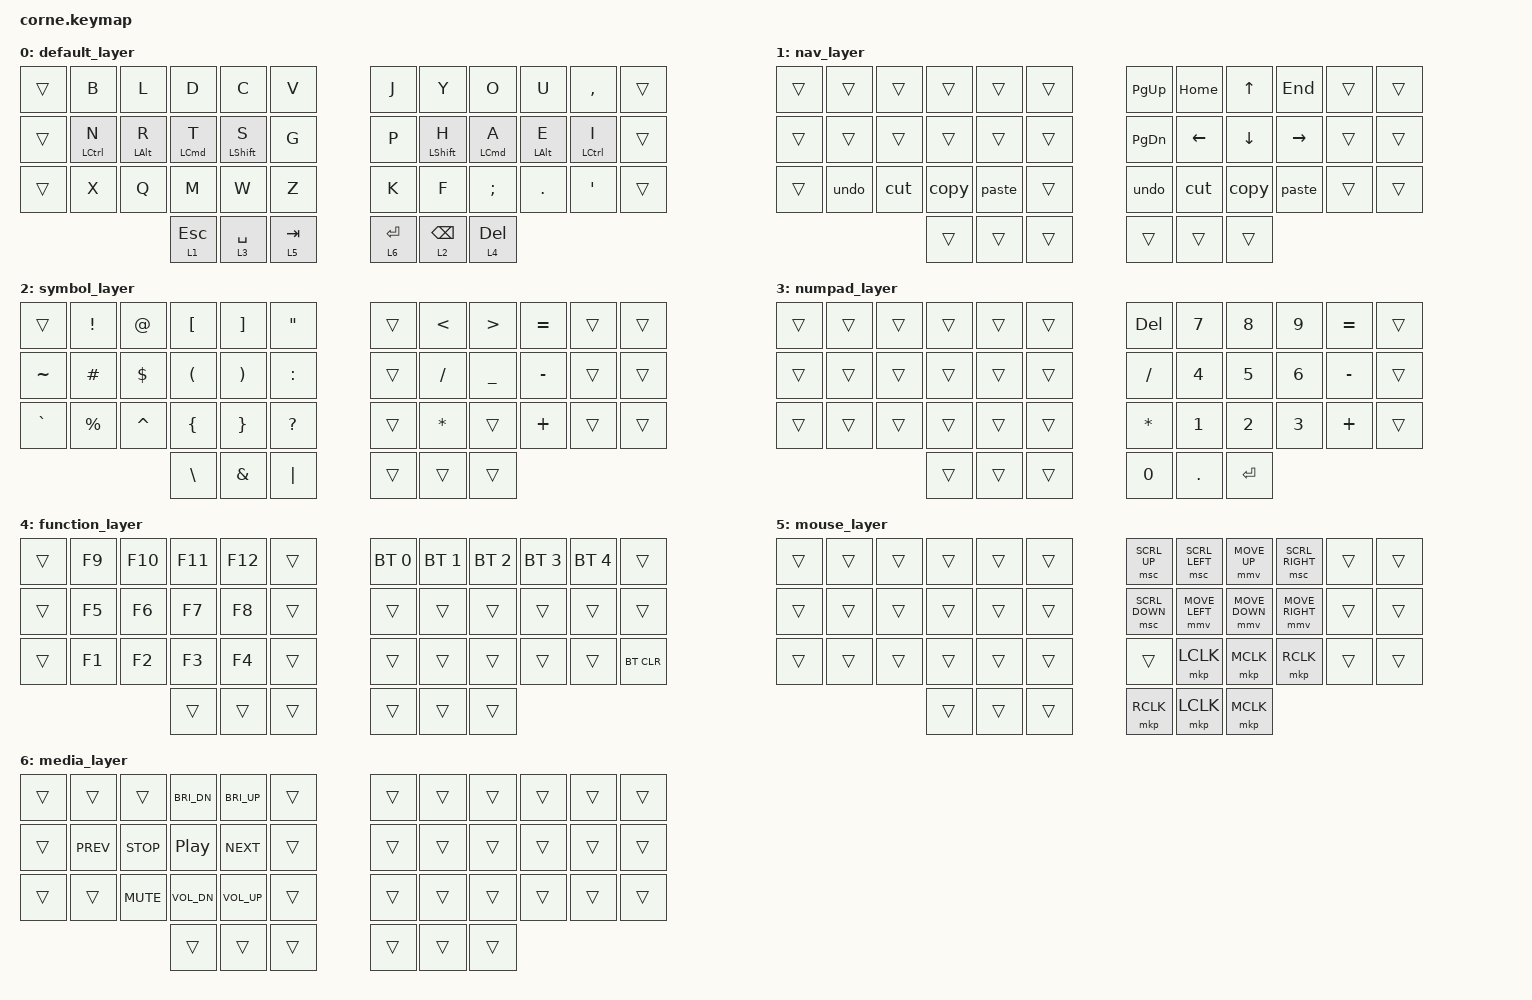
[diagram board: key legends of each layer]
/*
 * Copyright (c) 2020 The ZMK Contributors
 *
 * SPDX-License-Identifier: MIT
 */

#include <behaviors.dtsi>
#include <dt-bindings/zmk/keys.h>
#include <dt-bindings/zmk/bt.h>
#include <dt-bindings/zmk/mouse.h>

&mt {
    tapping-term-ms = <200>;
    quick-tap-ms = <125>;
};

/ {
    behaviors {
        hm: homerow_mods {
            compatible = "zmk,behavior-hold-tap";
            label = "HOMEROW_MODS";
            #binding-cells = <2>;
            tapping-term-ms = <200>;
            quick-tap-ms = <125>;
            flavor = "balanced";
            bindings = <&kp>, <&kp>;
        };
        th: thumb_hold_tap {
            compatible = "zmk,behavior-hold-tap";
            label = "THUMB_HOLD_TAP";
            #binding-cells = <2>;
            tapping-term-ms = <200>;
            quick-tap-ms = <125>;
            flavor = "balanced";
            bindings = <&mo>, <&kp>;
        };
    };

    macros {
        undo: undo {
            compatible = "zmk,behavior-macro";
            label = "UNDO";
            #binding-cells = <0>;
            bindings = <&kp LCMD &kp Z>;
        };
        cut: cut {
            compatible = "zmk,behavior-macro";
            label = "CUT";
            #binding-cells = <0>;
            bindings = <&kp LCMD &kp X>;
        };
        copy: copy {
            compatible = "zmk,behavior-macro";
            label = "COPY";
            #binding-cells = <0>;
            bindings = <&kp LCMD &kp C>;
        };
        paste: paste {
            compatible = "zmk,behavior-macro";
            label = "PASTE";
            #binding-cells = <0>;
            bindings = <&kp LCMD &kp V>;
        };
    };

    keymap {
        compatible = "zmk,keymap";

        default_layer {
            bindings = <
&trans  &kp B         &kp L         &kp D          &kp C          &kp V             &kp J         &kp Y         &kp O         &kp U          &kp COMMA      &trans
&trans  &hm LCTRL N   &hm LALT R    &hm LCMD T     &hm LSHFT S    &kp G             &kp P         &hm LSHFT H   &hm LCMD A    &hm LALT E     &hm LCTRL I    &trans
&trans  &kp X         &kp Q         &kp M          &kp W          &kp Z             &kp K         &kp F         &kp SEMI      &kp DOT        &kp SQT        &trans
                                   &th 1 ESC      &th 3 SPACE    &th 5 TAB         &th 6 RET     &th 2 BSPC    &th 4 DEL
            >;
        };

        nav_layer {
            bindings = <
&trans  &trans        &trans        &trans         &trans         &trans            &kp PG_UP     &kp HOME      &kp UP        &kp END        &trans         &trans
&trans  &trans        &trans        &trans         &trans         &trans            &kp PG_DN     &kp LEFT      &kp DOWN      &kp RIGHT      &trans         &trans
&trans  &undo         &cut          &copy          &paste         &trans            &undo         &cut          &copy         &paste         &trans         &trans
                                   &trans         &trans         &trans            &trans        &trans        &trans
            >;
        };

        symbol_layer {
            bindings = <
&trans      &kp EXCL       &kp AT         &kp LBKT       &kp RBKT   &kp DQT       &trans        &kp LT        &kp GT        &kp EQUAL       &trans       &trans
&kp TILDE   &kp HASH       &kp DLLR       &kp LPAR       &kp RPAR   &kp COLON     &trans        &kp FSLH      &kp UNDER     &kp MINUS       &trans       &trans
&kp GRAVE   &kp PRCNT      &kp CARET      &kp LBRC       &kp RBRC   &kp QMARK     &trans        &kp ASTRK     &trans        &kp PLUS        &trans       &trans
                                          &kp BSLH       &kp AMPS   &kp PIPE      &trans        &trans        &trans
            >;
        };

        numpad_layer {
            bindings = <
&trans  &trans        &trans        &trans         &trans         &trans            &kp DEL        &kp N7        &kp N8        &kp N9        &kp EQUAL      &trans
&trans  &trans        &trans        &trans         &trans         &trans            &kp FSLH       &kp N4        &kp N5        &kp N6        &kp MINUS      &trans
&trans  &trans        &trans        &trans         &trans         &trans            &kp ASTRK      &kp N1        &kp N2        &kp N3        &kp PLUS       &trans
                                    &trans         &trans         &trans            &kp N0         &kp DOT       &kp RET
            >;
        };

        function_layer {
            bindings = <
&trans  &kp F9         &kp F10        &kp F11        &kp F12      &trans            &bt BT_SEL 0   &bt BT_SEL 1   &bt BT_SEL 2   &bt BT_SEL 3   &bt BT_SEL 4   &trans
&trans  &kp F5         &kp F6         &kp F7         &kp F8       &trans            &trans         &trans         &trans         &trans         &trans         &trans
&trans  &kp F1         &kp F2         &kp F3         &kp F4       &trans            &trans         &trans         &trans         &trans         &trans         &bt BT_CLR
                                     &trans         &trans       &trans            &trans         &trans         &trans
            >;
        };

        mouse_layer {
            bindings = <
&trans &trans        &trans        &trans         &trans         &trans            &msc SCRL_UP   &msc SCRL_LEFT &mmv MOVE_UP   &msc SCRL_RIGHT &trans         &trans
&trans &trans        &trans        &trans         &trans         &trans            &msc SCRL_DOWN &mmv MOVE_LEFT &mmv MOVE_DOWN &mmv MOVE_RIGHT &trans         &trans
&trans &trans        &trans        &trans         &trans         &trans            &trans         &mkp LCLK      &mkp MCLK      &mkp RCLK       &trans         &trans
                                   &trans         &trans         &trans            &mkp RCLK      &mkp LCLK      &mkp MCLK
            >;
        };

        media_layer {
            bindings = <
&trans  &trans      &trans      &kp C_BRI_DN        &kp C_BRI_UP   &trans         &trans    &trans      &trans      &trans      &trans        &trans        
&trans  &kp C_PREV  &kp C_STOP  &kp C_PLAY_PAUSE    &kp C_NEXT     &trans         &trans    &trans      &trans      &trans      &trans        &trans         
&trans  &trans      &kp C_MUTE  &kp C_VOL_DN        &kp C_VOL_UP   &trans         &trans    &trans      &trans      &trans      &trans        &trans        
                                &trans              &trans         &trans         &trans    &trans      &trans
            >;
        };
    };
};
